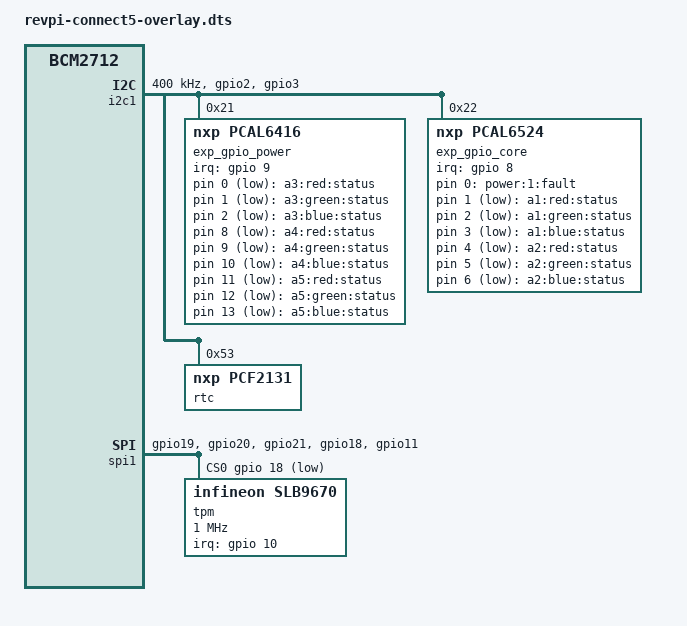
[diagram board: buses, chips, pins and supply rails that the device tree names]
// SPDX-License-Identifier: GPL-2.0
// SPDX-FileCopyrightText: Copyright 2024 KUNBUS GmbH

#include <dt-bindings/gpio/gpio.h>
#include <dt-bindings/interrupt-controller/irq.h>

/dts-v1/;
/plugin/;

/ {
	compatible = "brcm,bcm2712";

	fragment@0 {
		target-path = "/";
		__overlay__ {
			compatible = "kunbus,revpi-connect5", "brcm,bcm2712";

			leds {
				compatible = "gpio-leds";
				power_red {
					label = "power:1:fault";
					gpios = <&exp_gpio_core 0 GPIO_ACTIVE_HIGH>;
					linux,default-trigger = "power_red";
				};
				a1_red {
					label = "a1:red:status";
					gpios = <&exp_gpio_core 1 GPIO_ACTIVE_LOW>;
					linux,default-trigger = "a1_red";
				};
				a1_green {
					label = "a1:green:status";
					gpios = <&exp_gpio_core 2 GPIO_ACTIVE_LOW>;
					linux,default-trigger = "a1_green";
				};
				a1_blue {
					label = "a1:blue:status";
					gpios = <&exp_gpio_core 3 GPIO_ACTIVE_LOW>;
					linux,default-trigger = "a1_blue";
				};
				a2_red {
					label = "a2:red:status";
					gpios = <&exp_gpio_core 4 GPIO_ACTIVE_LOW>;
					linux,default-trigger = "a2_red";
				};
				a2_green {
					label = "a2:green:status";
					gpios = <&exp_gpio_core 5 GPIO_ACTIVE_LOW>;
					linux,default-trigger = "a2_green";
				};
				a2_blue {
					label = "a2:blue:status";
					gpios = <&exp_gpio_core 6 GPIO_ACTIVE_LOW>;
					linux,default-trigger = "a2_blue";
				};
				a3_red {
					label = "a3:red:status";
					gpios = <&exp_gpio_power 0 GPIO_ACTIVE_LOW>;
					linux,default-trigger = "a3_red";
				};
				a3_green {
					label = "a3:green:status";
					gpios = <&exp_gpio_power 1 GPIO_ACTIVE_LOW>;
					linux,default-trigger = "a3_green";
				};
				a3_blue {
					label = "a3:blue:status";
					gpios = <&exp_gpio_power 2 GPIO_ACTIVE_LOW>;
					linux,default-trigger = "a3_blue";
				};
				a4_red {
					label = "a4:red:status";
					gpios = <&exp_gpio_power 8 GPIO_ACTIVE_LOW>;
					linux,default-trigger = "a4_red";
				};
				a4_green {
					label = "a4:green:status";
					gpios = <&exp_gpio_power 9 GPIO_ACTIVE_LOW>;
					linux,default-trigger = "a4_green";
				};
				a4_blue {
					label = "a4:blue:status";
					gpios = <&exp_gpio_power 10 GPIO_ACTIVE_LOW>;
					linux,default-trigger = "a4_blue";
				};
				a5_red {
					label = "a5:red:status";
					gpios = <&exp_gpio_power 11 GPIO_ACTIVE_LOW>;
					linux,default-trigger = "a5_red";
				};
				a5_green {
					label = "a5:green:status";
					gpios = <&exp_gpio_power 12 GPIO_ACTIVE_LOW>;
					linux,default-trigger = "a5_green";
				};
				a5_blue {
					label = "a5:blue:status";
					gpios = <&exp_gpio_power 13 GPIO_ACTIVE_LOW>;
					linux,default-trigger = "a5_blue";
				};
			};
		};
	};

	/* GPIOS/PINMUX */
	fragment@1 {
		target = <&gpio>;
		__overlay__ {
			gpio-line-names =
				"ID_SDA", // GPIO0
				"ID_SCL", // GPIO1
				"I2C1_SDA", // GPIO2
				"I2C1_SCL", // GPIO3
				"UART2_TX", // GPIO4
				"UART2_RX", // GPIO5
				"-", // GPIO6
				"UART2_RTS", // GPIO7
				"INT_IOEX_CORE", // GPIO8
				"INT_IOX_POWER", // GPIO9
				"INT_TPM", // GPIO10
				"SPI1_CS1", // GPIO11
				"UART4_TX", // GPIO12
				"UART4_RX", // GPIO13
				"-", // GPIO14
				"UART4_RTS", // GPIO15
				"-", // GPIO16
				"ID_WP", // GPIO17
				"SPI1_CS0", // GPIO18
				"SPI1_MISO", // GPIO19
				"SPI1_MOSI", // GPIO20
				"SPI1_CLK", // GPIO21
				"-", // GPIO22
				"-", // GPIO23
				"-", // GPIO24
				"-", // GPIO25
				"-", // GPIO26
				"-", // GPIO27

				/*
				 * GPIO line names >= 28 are taken from
				 * arch/arm64/boot/dts/broadcom/bcm2712-rpi-cm5.dtsi
				 */
				"PCIE_PWR_EN", // GPIO28
				"FAN_TACH", // GPIO29
				"HOST_SDA", // GPIO30
				"HOST_SCL", // GPIO31
				"ETH_RST_N", // GPIO32
				"PCIE_DET_WAKE", // GPIO33

				"CD0_IO0_MICCLK", // GPIO34
				"CD0_IO0_MICDAT0", // GPIO35
				"RP1_PCIE_CLKREQ_N", // GPIO36
				"ETH_IRQ_N", // GPIO37
				"SDA0", // GPIO38
				"SCL0", // GPIO39
				"-", // GPIO40
				"-", // GPIO41
				"USB_VBUS_EN", // GPIO42
				"USB_OC_N", // GPIO43
				"RP1_STAT_LED", // GPIO44
				"FAN_PWM", // GPIO45
				"-", // GPIO46
				"2712_WAKE", // GPIO47
				"-", // GPIO48
				"-", // GPIO49
				"-", // GPIO50
				"-", // GPIO51
				"-", // GPIO52
				"-"; // GPIO53

			con5_i2c1_pins: con5_i2c1_pins {
				/* SDA, SCL */
				function = "i2c1";
				pins = "gpio2", "gpio3";
				bias-disable;
			};
			con5_spi1_pins: con5_spi1_pins {
				/* MISO, MOSI, CLK */
				function = "spi1";
				pins = "gpio19", "gpio20", "gpio21";
				bias-disable;
			};
			con5_spi1_cs_pins: con5_spi1_cs_pins {
				/* CE0 (TPM), CE1 (CAN) */
				function = "gpio";
				pins = "gpio18", "gpio11";
				bias-disable;
			};
			exp_core_pins: exp_core_pins {
				/* IRQ */
				function = "gpio";
				pins = "gpio8";
				bias-disable;
			};
			exp_power_pins: exp_power_pins {
				/* IRQ */
				function = "gpio";
				pins = "gpio9";
				bias-disable;
			};
			tpm_pins: tpm_pins {
				/* IRQ */
				function = "gpio";
				pins = "gpio10";
				bias-disabled;
			};
		};
	};

	/* I2C1 */
	fragment@2 {
		target = <&i2c1>;
		__overlay__ {
			pinctrl-names = "default";
			pinctrl-0 = <&con5_i2c1_pins>;
			clock-frequency = <400000>;
			status = "okay";

			exp_gpio_power: gpio@21 {
				/* 100kHz, 400kHz */
				compatible = "nxp,pcal6416";
				pinctrl-names = "default";
				pinctrl-0 = <&exp_power_pins>;
				reg = <0x21>;
				gpio-controller;
				#gpio-cells = <2>;
				interrupt-controller;
				#interrupt-cells = <2>;
				interrupt-parent = <&gpio>;
				interrupts = <9 IRQ_TYPE_LEVEL_LOW>;
				status = "okay";
				gpio-line-names =
					"LED_A3_RD", // GPIO0 / P0_0
					"LED_A3_GN", // GPIO1 / P0_1
					"LED_A3_BL", // GPIO2 / P0_2
					"PB_R_MPX_S", // GPIO3 / P0_3
					"RS485_TERM", // GPIO4 / P0_4
					"PB_R_DETECT", // GPIO5 / P0_5
					"PB_R_ETH_RST", // GPIO6 / P0_6
					"-", // GPIO7 / P0_7
					"LED_A4_RD", // GPIO8 / P1_0
					"LED_A4_GN", // GPIO9 / P1_1
					"LED_A4_BL", // GPIO10 / P1_2
					"LED_A5_RD", // GPIO11 / P1_3
					"LED_A5_GN", // GPIO12 / P1_4
					"LED_A5_BL", // GPIO13 / P1_5
					"PB_R_SNIFF", // GPIO14 / P1_6
					"PB_R_ACK"; // GPIO15 / P1_7

			};

			exp_gpio_core: gpio@22 {
				/* 100kHz, 400kHz */
				compatible = "nxp,pcal6524";
				pinctrl-names = "default";
				pinctrl-0 = <&exp_core_pins>;
				reg = <0x22>;
				#gpio-cells = <2>;
				interrupt-controller;
				#interrupt-cells = <2>;
				interrupt-parent = <&gpio>;
				interrupts = <8 IRQ_TYPE_LEVEL_LOW>;
				status = "okay";
				gpio-line-names =
					"LEDS_PWRRED", // GPIO0 / P0_0
					"LEDS_A1RED", // GPIO1 / P0_1
					"LEDS_A1GRN", // GPIO2 / P0_2
					"LEDS_A1BLUE", // GPIO3 / P0_3
					"LEDS_A2RED", // GPIO4 / P0_4
					"LEDS_A2GRN", // GPIO5 / P0_5
					"LEDS_A2BLUE", // GPIO6 / P0_6
					"PWRBLUE", // GPIO7 / P0_7
					"PB_L_SNIFF", // GPIO8 / P1_0
					"PB_L_ACK", // GPIO9 / P1_1
					"PB_L_MPX_S", // GPIO10 / P1_2
					"PB_TERM", // GPIO11 / P1_3
					"-", // GPIO12 / P1_4
					"-", // GPIO13 / P1_5
					"-", // GPIO14 / P1_6
					"PB_L_DETECT", // GPI15 / P1_7
					"-", // GPIO16 / P2_0
					"-", // GPIO17 / P2_1
					"USB_OCI1", // GPIO18 / P2_2
					"USB_OCI2", // GPIO19 / P2_3
					"ETHB_RST", // GPIO20 / P2_4
					"PBETH_L_RST", // GPIO21 / P2_5
					"-", // GPIO22 / P2_6
					"PG_1V05"; // GPIO23 / P2_7
			};

			rtc: rtc@53 {
				/* 100kHz, 400kHz */
				compatible = "nxp,pcf2131";
				reg = <0x53>;
				reset-source;
				status = "okay";
			};
		};
	};

	fragment@3 {
		target = <&rpi_rtc>;
		__overlay__ {
			status = "disabled";
		};
	};

	/* SPI1 */
	fragment@4 {
		target = <&spi1>;
		__overlay__ {
			pinctrl-names = "default";
			pinctrl-0 = <&con5_spi1_pins>, <&con5_spi1_cs_pins>;
			cs-gpios = <&gpio 18 GPIO_ACTIVE_LOW>, <&gpio 11 GPIO_ACTIVE_LOW>;
			status = "okay";

			tpm: tpm@0 {
				compatible = "infineon,slb9670";
				pinctrl-names = "default";
				pinctrl-0 = <&tpm_pins>;
				reg = <0>;
				spi-max-frequency = <1000000>;
				interrupt-parent = <&gpio>;
				#interrupt-cells = <2>;
				interrupts = <10 IRQ_TYPE_LEVEL_LOW>;
				status = "okay";
			};
		};
	};
};
